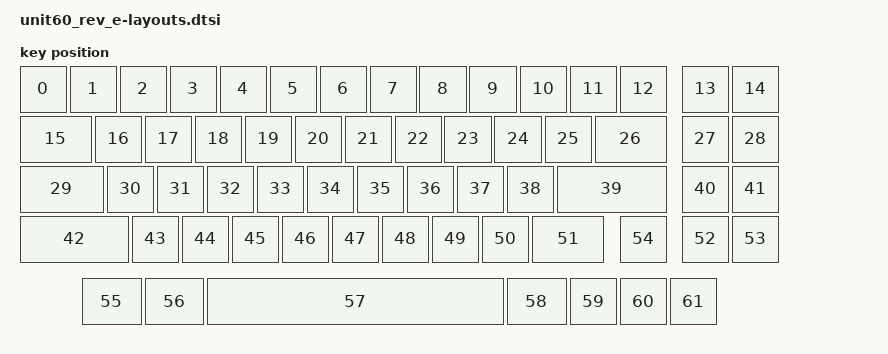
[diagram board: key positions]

#include <physical_layouts.dtsi>

/ {
	layout_0: layout_0 {
		compatible = "zmk,physical-layout";
		display-name = "Default (All)";
		transform = <&default_transform>;

		keys  //                     w   h    x    y     rot    rx    ry
			= <&key_physical_attrs 100 100    0    0       0     0     0>   // Esc
			, <&key_physical_attrs 100 100  100    0       0     0     0>   // 1
			, <&key_physical_attrs 100 100  200    0       0     0     0>   // 2
			, <&key_physical_attrs 100 100  300    0       0     0     0>   // 3
			, <&key_physical_attrs 100 100  400    0       0     0     0>   // 4
			, <&key_physical_attrs 100 100  500    0       0     0     0>   // 5
			, <&key_physical_attrs 100 100  600    0       0     0     0>   // 6
			, <&key_physical_attrs 100 100  700    0       0     0     0>   // 7
			, <&key_physical_attrs 100 100  800    0       0     0     0>   // 8
			, <&key_physical_attrs 100 100  900    0       0     0     0>   // 9
			, <&key_physical_attrs 100 100 1000    0       0     0     0>   // 0
			, <&key_physical_attrs 100 100 1100    0       0     0     0>   // -
			, <&key_physical_attrs 100 100 1200    0       0     0     0>   // =
			, <&key_physical_attrs 100 100 1325    0       0     0     0>   // BkSp (shifted +25)
			, <&key_physical_attrs 100 100 1425    0       0     0     0>   // Del (shifted +25)

			, <&key_physical_attrs 150 100    0  100       0     0     0>   // Tab (1.5U)
			, <&key_physical_attrs 100 100  150  100       0     0     0>   // Q
			, <&key_physical_attrs 100 100  250  100       0     0     0>   // W
			, <&key_physical_attrs 100 100  350  100       0     0     0>   // E
			, <&key_physical_attrs 100 100  450  100       0     0     0>   // R
			, <&key_physical_attrs 100 100  550  100       0     0     0>   // T
			, <&key_physical_attrs 100 100  650  100       0     0     0>   // Y
			, <&key_physical_attrs 100 100  750  100       0     0     0>   // U
			, <&key_physical_attrs 100 100  850  100       0     0     0>   // I
			, <&key_physical_attrs 100 100  950  100       0     0     0>   // O
			, <&key_physical_attrs 100 100 1050  100       0     0     0>   // P
			, <&key_physical_attrs 150 100 1150  100       0     0     0>   // \ (1.5U)
			, <&key_physical_attrs 100 100 1325  100       0     0     0>   // [ (shifted +25)
			, <&key_physical_attrs 100 100 1425  100       0     0     0>   // ] (shifted +25)

			, <&key_physical_attrs 175 100    0  200       0     0     0>   // Caps (1.75U)
			, <&key_physical_attrs 100 100  175  200       0     0     0>   // A
			, <&key_physical_attrs 100 100  275  200       0     0     0>   // S
			, <&key_physical_attrs 100 100  375  200       0     0     0>   // D
			, <&key_physical_attrs 100 100  475  200       0     0     0>   // F
			, <&key_physical_attrs 100 100  575  200       0     0     0>   // G
			, <&key_physical_attrs 100 100  675  200       0     0     0>   // H
			, <&key_physical_attrs 100 100  775  200       0     0     0>   // J
			, <&key_physical_attrs 100 100  875  200       0     0     0>   // K
			, <&key_physical_attrs 100 100  975  200       0     0     0>   // L
			, <&key_physical_attrs 225 100 1075  200       0     0     0>   // Enter (2.25U)
			, <&key_physical_attrs 100 100 1325  200       0     0     0>   // ; (shifted +25)
			, <&key_physical_attrs 100 100 1425  200       0     0     0>   // ' (shifted +25)

			, <&key_physical_attrs 225 100    0  300       0     0     0>   // LShift (2.25U)
			, <&key_physical_attrs 100 100  225  300       0     0     0>   // Z
			, <&key_physical_attrs 100 100  325  300       0     0     0>   // X
			, <&key_physical_attrs 100 100  425  300       0     0     0>   // C
			, <&key_physical_attrs 100 100  525  300       0     0     0>   // V
			, <&key_physical_attrs 100 100  625  300       0     0     0>   // B
			, <&key_physical_attrs 100 100  725  300       0     0     0>   // N
			, <&key_physical_attrs 100 100  825  300       0     0     0>   // M
			, <&key_physical_attrs 100 100  925  300       0     0     0>   // /
			, <&key_physical_attrs 150 100 1025  300       0     0     0>   // RShift (1.5U)
			, <&key_physical_attrs 100 100 1325  300       0     0     0>   // , (shifted +25)
			, <&key_physical_attrs 100 100 1425  300       0     0     0>   // . (shifted +25)

			, <&key_physical_attrs 100 100 1200  300       0     0     0>   // Up arrow (unchanged)

			, <&key_physical_attrs 125 100  125  425       0     0     0>   // Ctrl (1.25U, shifted +25)
			, <&key_physical_attrs 125 100  250  425       0     0     0>   // Alt (1.25U, shifted +25)
			, <&key_physical_attrs 600 100  375  425       0     0     0>   // Space (6U, shifted +25)
			, <&key_physical_attrs 125 100  975  425       0     0     0>   // FN (1.25U, shifted +25)
			, <&key_physical_attrs 100 100 1100  425       0     0     0>   // Left (shifted +25)
			, <&key_physical_attrs 100 100 1200  425       0     0     0>   // Down (shifted +25)
			, <&key_physical_attrs 100 100 1300  425       0     0     0>   // Right (shifted +25)
			;
	};
};

